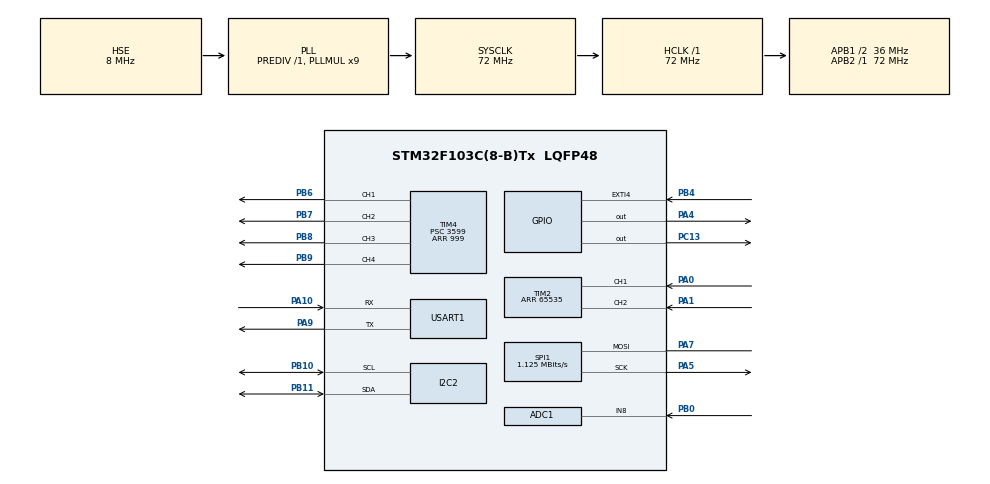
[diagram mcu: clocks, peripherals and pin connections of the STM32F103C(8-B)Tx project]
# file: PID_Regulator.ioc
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ADC1.Channel-1\#ChannelRegularConversion=ADC_CHANNEL_8
ADC1.ContinuousConvMode=DISABLE
ADC1.ExternalTrigConv=ADC_EXTERNALTRIGCONV_T3_TRGO
ADC1.NbrOfConversion=1
ADC1.NbrOfConversionFlag=1
ADC1.Rank-1\#ChannelRegularConversion=1
ADC1.SamplingTime-1\#ChannelRegularConversion=ADC_SAMPLETIME_71CYCLES_5
ADC1.master=1
Dma.ADC1.2.Direction=DMA_PERIPH_TO_MEMORY
Dma.ADC1.2.Instance=DMA1_Channel1
Dma.ADC1.2.MemDataAlignment=DMA_MDATAALIGN_HALFWORD
Dma.ADC1.2.MemInc=DMA_MINC_ENABLE
Dma.ADC1.2.Mode=DMA_CIRCULAR
Dma.ADC1.2.PeriphDataAlignment=DMA_PDATAALIGN_HALFWORD
Dma.ADC1.2.PeriphInc=DMA_PINC_DISABLE
Dma.ADC1.2.Priority=DMA_PRIORITY_HIGH
Dma.Request0=USART1_TX
Dma.Request1=USART1_RX
Dma.Request2=ADC1
Dma.USART1_RX.1.Direction=DMA_PERIPH_TO_MEMORY
Dma.USART1_RX.1.Instance=DMA1_Channel5
Dma.USART1_RX.1.MemDataAlignment=DMA_MDATAALIGN_BYTE
Dma.USART1_RX.1.MemInc=DMA_MINC_ENABLE
Dma.USART1_RX.1.Mode=DMA_CIRCULAR
Dma.USART1_RX.1.PeriphDataAlignment=DMA_PDATAALIGN_BYTE
Dma.USART1_RX.1.PeriphInc=DMA_PINC_DISABLE
Dma.USART1_RX.1.Priority=DMA_PRIORITY_LOW
Dma.USART1_TX.0.Direction=DMA_MEMORY_TO_PERIPH
Dma.USART1_TX.0.Instance=DMA1_Channel4
Dma.USART1_TX.0.MemDataAlignment=DMA_MDATAALIGN_BYTE
Dma.USART1_TX.0.MemInc=DMA_MINC_ENABLE
Dma.USART1_TX.0.Mode=DMA_NORMAL
Dma.USART1_TX.0.PeriphDataAlignment=DMA_PDATAALIGN_BYTE
Dma.USART1_TX.0.PeriphInc=DMA_PINC_DISABLE
Dma.USART1_TX.0.Priority=DMA_PRIORITY_LOW
Mcu.Family=STM32F1
Mcu.Name=STM32F103C(8-B)Tx
Mcu.Package=LQFP48
NVIC.DMA1_Channel1_IRQn=true\:0\:0\:false\:false\:true\:false\:true
NVIC.DMA1_Channel4_IRQn=true\:5\:0\:true\:false\:true\:false\:true
NVIC.DMA1_Channel5_IRQn=true\:4\:0\:true\:false\:true\:true\:true
NVIC.EXTI4_IRQn=true\:12\:0\:true\:false\:true\:true\:true
NVIC.I2C2_EV_IRQn=true\:9\:0\:true\:false\:true\:true\:true
NVIC.PriorityGroup=NVIC_PRIORITYGROUP_4
NVIC.TIM1_UP_IRQn=true\:13\:0\:true\:false\:true\:true\:true
NVIC.TIM2_IRQn=true\:14\:0\:true\:false\:true\:true\:true
NVIC.TIM4_IRQn=true\:11\:0\:true\:false\:true\:true\:true
NVIC.USART1_IRQn=true\:7\:0\:true\:false\:true\:true\:true
PA0-WKUP.Signal=S_TIM2_CH1_ETR
PA1.Signal=S_TIM2_CH2
PA10.GPIO_PuPd=GPIO_NOPULL
PA10.Mode=Asynchronous
PA10.Signal=USART1_RX
PA13.Mode=JTAG_4_pins
PA13.Signal=SYS_JTMS-SWDIO
PA14.Mode=JTAG_4_pins
PA14.Signal=SYS_JTCK-SWCLK
PA15.Mode=JTAG_4_pins
PA15.Signal=SYS_JTDI
PA4.Signal=GPIO_Output
PA5.Mode=Simplex_Bidirectional_Master
PA5.Signal=SPI1_SCK
PA7.Mode=Simplex_Bidirectional_Master
PA7.Signal=SPI1_MOSI
PA9.Mode=Asynchronous
PA9.Signal=USART1_TX
PB0.Signal=ADCx_IN8
PB10.Mode=I2C
PB10.Signal=I2C2_SCL
PB11.Mode=I2C
PB11.Signal=I2C2_SDA
PB3.Mode=JTAG_4_pins
PB3.Signal=SYS_JTDO-TRACESWO
PB4.GPIO_ModeDefaultEXTI=GPIO_MODE_IT_RISING_FALLING
PB4.Signal=GPXTI4
PB6.Signal=S_TIM4_CH1
PB7.Signal=S_TIM4_CH2
PB8.Signal=S_TIM4_CH3
PB9.Signal=S_TIM4_CH4
PC13-TAMPER-RTC.Signal=GPIO_Output
PD0-OSC_IN.Mode=HSE-External-Oscillator
PD0-OSC_IN.Signal=RCC_OSC_IN
PD1-OSC_OUT.Mode=HSE-External-Oscillator
PD1-OSC_OUT.Signal=RCC_OSC_OUT
ProjectManager.HeapSize=0x200
ProjectManager.StackSize=0x400
ProjectManager.TargetToolchain=SW4STM32
RCC.ADCPresc=RCC_ADCPCLK2_DIV8
RCC.AHBFreq_Value=72000000
RCC.APB1CLKDivider=RCC_HCLK_DIV2
RCC.APB1Freq_Value=36000000
RCC.APB1TimFreq_Value=72000000
RCC.APB2Freq_Value=72000000
RCC.APB2TimFreq_Value=72000000
RCC.HCLKFreq_Value=72000000
RCC.PLLMUL=RCC_PLL_MUL9
RCC.PLLSourceVirtual=RCC_PLLSOURCE_HSE
RCC.RTCClockSelection=RCC_RTCCLKSOURCE_HSE_DIV128
RCC.SYSCLKFreq_VALUE=72000000
RCC.SYSCLKSource=RCC_SYSCLKSOURCE_PLLCLK
RCC.USBFreq_Value=72000000
SH.ADCx_IN8.0=ADC1_IN8,IN8
SH.S_TIM2_CH1_ETR.0=TIM2_CH1,Encoder_Interface
SH.S_TIM2_CH2.0=TIM2_CH2,Encoder_Interface
SH.S_TIM4_CH1.0=TIM4_CH1,PWM Generation1 CH1
SH.S_TIM4_CH2.0=TIM4_CH2,PWM Generation2 CH2
SH.S_TIM4_CH3.0=TIM4_CH3,PWM Generation3 CH3
SH.S_TIM4_CH4.0=TIM4_CH4,PWM Generation4 CH4
SPI1.BaudRatePrescaler=SPI_BAUDRATEPRESCALER_64
SPI1.CalculateBaudRate=1.125 MBits/s
SPI1.Direction=SPI_DIRECTION_1LINE
SPI1.FirstBit=SPI_FIRSTBIT_LSB
SPI1.Mode=SPI_MODE_MASTER
SPI1.VirtualType=VM_MASTER
TIM1.Period=4999
TIM1.Prescaler=7199
TIM2.CounterMode=TIM_COUNTERMODE_CENTERALIGNED1
TIM2.IC1Filter=10
TIM2.IC2Filter=10
TIM2.Period=65535
TIM3.AutoReloadPreload=TIM_AUTORELOAD_PRELOAD_ENABLE
TIM3.Period=19
TIM3.Prescaler=7199
TIM3.TIM_MasterOutputTrigger=TIM_TRGO_UPDATE
TIM4.Channel-PWM\ Generation1\ CH1=TIM_CHANNEL_1
TIM4.Channel-PWM\ Generation2\ CH2=TIM_CHANNEL_2
TIM4.Channel-PWM\ Generation3\ CH3=TIM_CHANNEL_3
TIM4.Channel-PWM\ Generation4\ CH4=TIM_CHANNEL_4
TIM4.Period=999
TIM4.Prescaler=3599
USART1.VirtualMode=VM_ASYNC
VP_TIM1_VS_ClockSourceINT.Mode=Internal
VP_TIM3_VS_ClockSourceINT.Mode=Internal
VP_TIM4_VS_ClockSourceINT.Mode=Internal
board=custom

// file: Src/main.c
/* USER CODE BEGIN Header */
/**
  ******************************************************************************
  * @file           : main.c
  * @brief          : Main program body
  ******************************************************************************
  * @attention
  *
  * <h2><center>&copy; Copyright (c) 2020 STMicroelectronics.
  * All rights reserved.</center></h2>
  *
  * This software component is licensed by ST under BSD 3-Clause license,
  * the "License"; You may not use this file except in compliance with the
  * License. You may obtain a copy of the License at:
  *                        opensource.org/licenses/BSD-3-Clause
  *
  ******************************************************************************
  */
/* USER CODE END Header */

#include "main.h"

/* USER CODE BEGIN Includes */
#include <string.h>
#include "stm32f1xx_hal.h"
#include <../ds1302/ds1302.h>
#include <../menu/menu.h>
#include "../pid/pid.h"

#include "../lcd/bigFont_lcdI2c.h"
#include "../lcd/lcd_Hd44780I2C.h"

#include "../sdbg/sdbg.h"
/* USER CODE END Includes */

/* USER CODE BEGIN PD */

#define LCD_ROWS		(4U)
#define LCD_COLS		(20U)
#define LCD_I2C_ADDRESS	(0x4E)

#define SAMPLING_TIME (2U)

#define KP_ENTIRE 	(7U)
#define KP_DECIMAL	(0U)
#define KI_ENTIRE 	(0U)
#define KI_DECIMAL 	(100U)
#define KD_ENTIRE 	(0U)
#define KD_DECIMAL 	(10U)

#define AD_RESOLLUTION 		(5000000/4096)
#define DEFAULT_DUTY_VAL 	(500u)
#define SET_POINT_INIT_VAL 	(4217u)
#define SET_POINT_DECIMAL 	(0u)

#define HOUR_FORMAT	(0) // 0 = 0-24h; 1= 0-12h
#define HOUR 		(13U)
#define MINUTES 	(18U)
#define SECONDS 	(00U)
#define AM_PM		(1U)
#define WEEKDAY 	(1U)
#define MONTHDAY 	(14U)
#define MONTH 		(8U)
#define YEAR 		(2022U)

#define HOUR_ALARM_FORMAT	(0U) // 0 = 0-24h; 1= 0-12h
#define HOUR_ALARM			(15U)
#define MINUTES_ALARM		(10U)
#define SECONDS_ALARM		(10U)
#define AM_PM_ALARM			(1U)
#define ALARM_STATUS		(0U)// OFF

#define ADC_BUFFER_LEN	(1U)

/* USER CODE END PD */

/* USER CODE BEGIN PM */

/* Exported functions ------------------------------------------------------- */
/* USER CODE END PM */

ADC_HandleTypeDef hadc1;
DMA_HandleTypeDef hdma_adc1;

I2C_HandleTypeDef hi2c2;

SPI_HandleTypeDef hspi1;

TIM_HandleTypeDef htim1;
TIM_HandleTypeDef htim2;
TIM_HandleTypeDef htim3;
TIM_HandleTypeDef htim4;

UART_HandleTypeDef huart1;
DMA_HandleTypeDef hdma_usart1_tx;
DMA_HandleTypeDef hdma_usart1_rx;

/* USER CODE BEGIN PV */

/* Lcd object */
static LCD_t Lcd;
/* PID object */
static pidc_t Pid;
/* DS1302 object */
static ds1302_T rtc;
/* Menu object */
static menu_T menu;

static uint8_t flag_timer1 = 0u;

/*Pid configuration */
static const pid_cfg_t pidcfg = {
		KP_ENTIRE,
		KP_DECIMAL,
		KI_ENTIRE,
		KI_DECIMAL,
		KD_ENTIRE,
		KD_DECIMAL,
		AD_RESOLLUTION,
		SAMPLING_TIME,
		DEFAULT_DUTY_VAL,
		SET_POINT_INIT_VAL
};

/* Pid configuration for menu */
static const menu_pidCfg_t menuPidCfg = {
		KP_ENTIRE,
		KP_DECIMAL,
		KI_ENTIRE,
		KI_DECIMAL,
		KD_ENTIRE,
		KD_DECIMAL,
		SET_POINT_INIT_VAL,
		SET_POINT_DECIMAL
};

/* Clock configuration for menu */
static const menu_dateTimeCfg_t menu_dateTimeCfg ={
		HOUR_FORMAT, HOUR, MINUTES, SECONDS, AM_PM, WEEKDAY, MONTHDAY, MONTH, YEAR
};

/* Clock configuration for menu */
static const menu_alarmCfg_t menu_alarmCfg ={
		HOUR_ALARM_FORMAT, HOUR_ALARM, MINUTES_ALARM, SECONDS_ALARM, AM_PM_ALARM, ALARM_STATUS
};

/*Lcd configuration */
static const LCD_cfg_t Lcd_Hd44780I2cCfg =
{
	&hi2c2,   /* Depending on your active I2C configuration */
	LCD_COLS, /* Lcd columns */
	LCD_ROWS, /* Lcd rows */
	LCD_I2C_ADDRESS, /* Lcd address. Depending on your PCF8574T expander board it could change. */
	LCD_5x8DOTS /* Pending to remove, here you can set 0*/
};

static ds1302_cfg_T ds1302_config = {
	&hspi1,
	{GPIOA, GPIO_PIN_4}
};

static const menu_item_T menu1_cfg_options[6]={
        {0, menu_op1, menu_op1_sel, MENU_PidSelected},
		{1, menu_op2, menu_op2_sel, MENU_HourSelected},
		{2, menu_op3, menu_op3_sel, MENU_enterPidOptions},
		{3, menu_op4, menu_op4_sel, MENU_enterClockOptions},//
		{4, menu_op5, menu_op5_sel, MENU_ChangePwmSelected},
		{5, menu_Exit, menu_Exit_sel, MENU_ExitSelected},
};

/* MENU screen config */
static const menu_cfg_T menu1_cfg = {
		MENU_MAIN,
		MENU_SCREEN_NO_FREEZE,
		4,//max lines
		0,//line start
		5,//max options
		0,//min menu start option
		&menu1_cfg_options[0]
};

static const menu_item_T menu_defaultHourOptions[4]={
		{0, menu_empty, menu_empty, MENU_defaultHourToMainSel},
		{1, menu_empty, menu_empty, MENU_defaultHourToMainSel},
		{2, menu_empty, menu_empty, MENU_defaultHourToMainSel},
		{3, menu_empty, menu_empty, MENU_defaultHourToMainSel},
};

/* HOUR screen config */
static const menu_cfg_T menu_defaultHour = {
		MENU_DEFAULT_HOUR,
		MENU_SCREEN_NO_FREEZE,
		4,//max lines
		0,//line start
		0,//max options
		0,//min menu start option
		&menu_defaultHourOptions[0]
};

static const menu_item_T menu_defaultPidOptions[4]={
		{0, menu_defLine1Pid, menu_defLine1Pid, MENU_defaultPidToMainSel},
		{1, menu_defLine2Pid, menu_defLine2Pid, MENU_defaultPidToMainSel},
		{2, menu_defLine3Pid, menu_defLine3Pid, MENU_defaultPidToMainSel},
		{3, menu_defLine4Pid, menu_defLine4Pid, MENU_defaultPidToMainSel},
};

/* Pid screen config for PID*/
static const menu_cfg_T menu_defaultPid = {
		MENU_DEFAULT_PID,
		MENU_SCREEN_NO_FREEZE,
		4,
		0,
		0,
		0,
		&menu_defaultPidOptions[0]
};

static const menu_item_T menu_ChangePidSettingsOptions[11]={
		{0, submenu1_op1, submenu1_op1, NULL},
		{1, menu_empty, submenu1_op2, MENU_ChangeKpEntireSel},
		{2, menu_empty, submenu1_op3, MENU_ChangeKpDecimalSel},
		{3, menu_empty, submenu1_op4, MENU_ChangeKiEntireSel},
		{4, menu_empty, submenu1_op5, MENU_ChangeKiDecimalSel},
		{5, menu_empty, submenu1_op6, MENU_ChangeKdEntireSel},
		{6, menu_empty, submenu1_op7, MENU_ChangeKdDecimalSel},
		{7, menu_empty, submenu1_op8, MENU_ChangeSetPointEntireSel},
		{8, menu_empty, submenu1_op9, MENU_ChangeSetPointDecimalSel},
		{9, menu_empty, submenu1_op10, MENU_ExitAndSavePid},
		{10, menu_empty, submenu1_op11, MENU_exitAndNoSavePid},
};

/* Screen to Change PID settings*/
static const menu_cfg_T menu_ChangePidSettings = {
		MENU_PID_SETTINGS,
		MENU_SCREEN_NO_FREEZE,
		1, // Used Lines to print the menu
		1, // Print the entire menu rotating on this line
		10,// number of menu items
		1, //min menu start option
		&menu_ChangePidSettingsOptions[0]
};

static const menu_item_T menu_ChangeDateTimeOptions[12]={
		{0, submenu3_op1, submenu3_op1, NULL},
		{1, menu_empty, submenu3_op2, MENU_ChangeHourFormatSel},
		{2, menu_empty, submenu3_op6, MENU_ChangeAmPmSel},
		{3, menu_empty, submenu3_op3, MENU_ChangeHourSel},
		{4, menu_empty, submenu3_op4, MENU_ChangeMinSel},
		{5, menu_empty, submenu3_op5, MENU_ChangeSecSel},
		{6, menu_empty, submenu3_op7, MENU_ChangeWeekDaySel},
		{7, menu_empty, submenu3_op8, MENU_ChangeMonthDaySel},
		{8, menu_empty, submenu3_op9, MENU_ChangeMonthSel},
		{9, menu_empty, submenu3_op10, MENU_ChangeYearSel},
		{10, menu_empty, submenu3_op11, MENU_exitAndSaveDateTime},
		{11, menu_empty, submenu3_op12, MENU_exitAndNoSaveDateTime},
};

/* Screen to Change Hours*/
static const menu_cfg_T menu_ChangeDateTime = {
		MENU_CLOCK_SETTINGS,
		MENU_SCREEN_NO_FREEZE,
		1, // Used Lines to print the menu
		1, // Print the entire menu rotating on this line
		11,// number of menu items
		1, //min menu start option
		&menu_ChangeDateTimeOptions[0]
};

static const menu_item_T menu_changeHourFormatOptions[1]={
		{0, menu_empty, menu_empty, MENU_exitChangeClockSelected},
};

/* Screen to Change Hour format */
static const menu_cfg_T menu_changeHourFormat = {
		MENU_CHANGE_HOUR_FORMAT,
		MENU_SCREEN_FREEZE,
		1, // Used Lines to print the menu
		1, // Print the entire menu rotating on this line
		1,// number of menu items
		0, //min menu start option
		&menu_changeHourFormatOptions[0]
};

static const menu_item_T menu_changeHourAmPmOptions[1]={
		{0, menu_empty, menu_empty, MENU_exitChangeClockSelected},
};

/* Screen to Change Hour mode */
static const  menu_cfg_T menu_changeHourAmPm = {
		MENU_CHANGE_HOUR_AM_PM,
		MENU_SCREEN_FREEZE,
		1, // Used Lines to print the menu
		1, // Print the entire menu rotating on this line
		1,// number of menu items
		0, //min menu start option
		&menu_changeHourAmPmOptions[0]
};

static const menu_item_T menu_changeHoursOptions[1]={
		{0, menu_empty, menu_empty, MENU_exitChangeClockSelected},
};

/* Screen to Change Hours */
static const menu_cfg_T menu_changeHours = {
		MENU_CHANGE_HOUR,
		MENU_SCREEN_FREEZE,
		1, // Used Lines to print the menu
		1, // Print the entire menu rotating on this line
		23,// number of menu items
		0, //min menu start option
		&menu_changeHoursOptions[0]
};

static const menu_item_T menu_changeMinutesOptions[1]={
		{0, menu_empty, menu_empty, MENU_exitChangeClockSelected},
};

/* Screen to Change Minutes */
static const menu_cfg_T menu_changeMinutes = {
		MENU_CHANGE_MINUTES,
		MENU_SCREEN_FREEZE,
		1, // Used Lines to print the menu
		1, // Print the entire menu rotating on this line
		59,// number of menu items
		0, //min menu start option
		&menu_changeMinutesOptions[0]
};

static const menu_item_T menu_changeSecondsOptions[1]={
		{0, menu_empty, menu_empty, MENU_exitChangeClockSelected},
};

/* Screen to Change Seconds */
static const menu_cfg_T menu_changeSeconds = {
		MENU_CHANGE_SECONDS,
		MENU_SCREEN_FREEZE,
		1, // Used Lines to print the menu
		1, // Print the entire menu rotating on this line
		59,// number of menu items
		0, //min menu start option
		&menu_changeSecondsOptions[0]
};

static const menu_item_T menu_changeWeekDayOptions[1]={
		{0, menu_empty, menu_empty, MENU_exitChangeClockSelected},
};

/* Screen to Change the day of the week */
static const menu_cfg_T menu_changeWeekDay = {
		MENU_CHANGE_WEEKDAY,
		MENU_SCREEN_FREEZE,
		1, // Used Lines to print the menu
		1, // Print the entire menu rotating on this line
		7, // number of menu items
		1, //min menu start option
		&menu_changeWeekDayOptions[0]
};

static const menu_item_T menu_changeMonthDayOptions[1]= {
		{0, menu_empty, menu_empty, MENU_exitChangeClockSelected},
};

/* Screen to Change the day of the current month*/
static const menu_cfg_T menu_changeMonthDay = {
		MENU_CHANGE_MONTHDAY,
		MENU_SCREEN_FREEZE,
		1, // Used Lines to print the menu
		1, // Print the entire menu rotating on this line
		31,// number of menu items
		1, //min menu start option
		&menu_changeMonthDayOptions[0]
};

static const menu_item_T menu_changeMonthOptions[1]={
		{0, menu_empty, menu_empty, MENU_exitChangeClockSelected},
};

/* Screen to Change the day of the current month*/
static const menu_cfg_T menu_changeMonth = {
		MENU_CHANGE_MONTH,
		MENU_SCREEN_FREEZE,
		1, // Used Lines to print the menu
		1, // Print the entire menu rotating on this line
		12,// number of menu items
		1, //min menu start option
		&menu_changeMonthOptions[0]
};

static const menu_item_T menu_changeYearOptions[1]={
	{0, menu_empty, menu_empty, MENU_exitChangeClockSelected},
};

/* Screen to Change the day of the current month*/
static const menu_cfg_T menu_changeYear = {
		MENU_CHANGE_YEAR,
		MENU_SCREEN_FREEZE,
		1, // Used Lines to print the menu
		1, // Print the entire menu rotating on this line
		999,// number of menu items
		0, //min menu start option
		&menu_changeYearOptions[0]
};

static const menu_item_T menu_changeKpEntireOptions[1]={
		{0, menu_empty, menu_empty, MENU_exitChangePidSelected},
};

/* Screen to Change the Entire part of the KP_ENTIRE parameter*/
static const menu_cfg_T menu_changeKpEntire = {
		MENU_CHANGE_KP_ENTIRE,
		MENU_SCREEN_FREEZE,
		1, // Used Lines to print the menu
		1, // Print the entire menu rotating on this line
		9999,// number of menu items
		0, //min menu start option
		&menu_changeKpEntireOptions[0]
};

static const menu_item_T menu_changeKpDecimalOptions[1]={
		{0, menu_empty, menu_empty, MENU_exitChangePidSelected},
};

/* Screen to Change the decimal part of the KP_ENTIRE parameter*/
static const menu_cfg_T menu_changeKpDecimal = {
		MENU_CHANGE_KP_DECIMAL,
		MENU_SCREEN_FREEZE,
		1, // Used Lines to print the menu
		1, // Print the entire menu rotating on this line
		999,// number of menu items
		0, //min menu start option
		&menu_changeKpDecimalOptions[0]
};

static const menu_item_T menu_changeKiEntireOptions[1]={
		{0, menu_empty, menu_empty, MENU_exitChangePidSelected},
};

/* Screen to Change the Entire part of the KP_ENTIRE parameter*/
static const menu_cfg_T menu_changeKiEntire = {
		MENU_CHANGE_KI_ENTIRE,
		MENU_SCREEN_FREEZE,
		1, // Used Lines to print the menu
		1, // Print the entire menu rotating on this line
		9999,// number of menu items
		0, //min menu start option
		&menu_changeKiEntireOptions[0]
};

static const menu_item_T menu_changeKiDecimalOptions[1]={
		{0, menu_empty, menu_empty, MENU_exitChangePidSelected},
};

/* Screen to Change the decimal part of the KP_ENTIRE parameter*/
static menu_cfg_T menu_changeKiDecimal = {
		MENU_CHANGE_KI_DECIMAL,
		MENU_SCREEN_FREEZE,
		1, // Used Lines to print the menu
		1, // Print the entire menu rotating on this line
		999,// number of menu items
		0, //min menu start option
		&menu_changeKiDecimalOptions[0]
};

static const menu_item_T menu_changeKdEntireOptions[1]=		{
		{0, menu_empty, menu_empty, MENU_exitChangePidSelected},
};

/* Screen to Change the Entire part of the KP_ENTIRE parameter*/
static const menu_cfg_T menu_changeKdEntire = {
		MENU_CHANGE_KD_ENTIRE,
		MENU_SCREEN_FREEZE,
		1, // Used Lines to print the menu
		1, // Print the entire menu rotating on this line
		9999,// number of menu items
		0, //min menu start option
		&menu_changeKdEntireOptions[0]
};

static const menu_item_T menu_changeKdDecimalOptions[1]=		{
		{0, menu_empty, menu_empty, MENU_exitChangePidSelected},
};

/* Screen to Change the decimal part of the KP_ENTIRE parameter*/
static const menu_cfg_T menu_changeKdDecimal = {
		MENU_CHANGE_KD_DECIMAL,
		MENU_SCREEN_FREEZE,
		1, // Used Lines to print the menu
		1, // Print the entire menu rotating on this line
		999,// number of menu items
		0, //min menu start option
		&menu_changeKdDecimalOptions[0]
};

static const menu_item_T menu_changeSetPointEntireOptions[1]={
		{0, menu_empty, menu_empty, MENU_exitChangePidSelected},
};
/* Screen to Change the Entire part of the KP_ENTIRE parameter*/
static const menu_cfg_T menu_changeSetPointEntire = {
		MENU_CHANGE_SET_POINT_ENTIRE,
		MENU_SCREEN_FREEZE,
		1, // Used Lines to print the menu
		1, // Print the entire menu rotating on this line
		9999,// number of menu items
		0, //min menu start option
		&menu_changeSetPointEntireOptions[0]
};

static const menu_item_T menu_changeSetPointDecimalOptions[1]={
		{0, menu_empty, menu_empty, MENU_exitChangePidSelected},
};

/* Screen to Change the decimal part of the KP_ENTIRE parameter*/
static const menu_cfg_T menu_changeSetPointDecimal = {
		MENU_CHANGE_SET_POINT_DECIMAL,
		MENU_SCREEN_FREEZE,
		1, // Used Lines to print the menu
		1, // Print the entire menu rotating on this line
		999,// number of menu items
		0, //min menu start option
		&menu_changeSetPointDecimalOptions[0]
};

static const menu_item_T menu_PidOptionsOptions[7] ={
		{0, submenu4_title, submenu4_title, NULL},
		{1, submenu4_op1, submenu4_op1_sel , MENU_enterChangePidSelected},
		{2, submenu4_op2, submenu4_op2_sel, MENU_showPidValues},
		{3, menu_Exit, menu_Exit_sel, MENU_pidOptionsExitToMain},
};

/* Screen to show all PID options */
static menu_cfg_T menu_PidOptions = {
		MENU_PID_OPTIONS,
		MENU_SCREEN_NO_FREEZE,
		3, // Used Lines to print the menu
		1, // start printing the menu on this line
		3,// number of menu items
		1, //min menu start option
		&menu_PidOptionsOptions[0]
};

static const menu_item_T menu_clockOptionsOptions[7]=		{
		{0, submenu5_title, submenu5_title, NULL},
		{1, submenu5_op1, submenu5_op1_sel , MENU_enterChangeClockSelected},
		{2, submenu5_op2, submenu5_op2_sel, MENU_enterChangeAlarmSelected},
		{3, menu_Exit, menu_Exit_sel, MENU_pidOptionsExitToMain},
};

/* Screen to show all PID options */
static menu_cfg_T menu_clockOptions = {
		MENU_CLOCK_OPTIONS,
		MENU_SCREEN_NO_FREEZE,
		3, // Used Lines to print the menu
		1, // Print the entire menu rotating on this line
		3,// number of menu items
		1, //min menu start option
		&menu_clockOptionsOptions[0]
};

static const menu_item_T menu_PidValuesOptions[4]={
		{0, submenu3_Kp, submenu3_Kp, MENU_exitAndNoSavePid},
		{1, submenu3_Ki, submenu3_Ki, MENU_exitAndNoSavePid},
		{2, submenu3_Kd, submenu3_Kd, MENU_exitAndNoSavePid},
		{3, submenu3_Sp, submenu3_Sp, MENU_exitAndNoSavePid},
};

/* Screen to show all PID options */
static const menu_cfg_T menu_PidValues = {
		MENU_PID_VALUES,
		MENU_SCREEN_NO_FREEZE,
		4, // Used Lines to print the menu
		0, // Print the entire menu rotating on this line
		3, // number of menu items
		0, //min menu start option
		&menu_PidValuesOptions[0]
};

static const menu_item_T menu_ChangeAlarmOptions[9]={
		{0, submenu6_op1, submenu6_op1, NULL},
		{1, menu_empty, submenu6_op2, MENU_ChangeAlarmHourFormatSel},
		{2, menu_empty, submenu6_op3, MENU_ChangeAlarmAmPmSel},
		{3, menu_empty, submenu6_op4, MENU_ChangeAlarmHourSel},
		{4, menu_empty, submenu6_op5, MENU_ChangeAlarmMinSel},
		{5, menu_empty, submenu6_op6, MENU_ChangeAlarmSecSel},
		{6, menu_empty, submenu6_op7, MENU_ChangeAlarmStatusSel},
		{7, menu_empty, submenu6_op8, MENU_exitAndSaveAlarm},
		{8, menu_empty, submenu6_op9, MENU_exitAndNoSaveAlarm}
};

/* Screen to Change Hours*/
static const menu_cfg_T menu_ChangeAlarm = {
		MENU_ALARM_SETTINGS,
		MENU_SCREEN_NO_FREEZE,
		1, // Used Lines to print the menu
		1, // Print the entire menu rotating on this line
		8,// number of menu items
		1, //min menu start option
		&menu_ChangeAlarmOptions[0]
};

static const menu_item_T menu_changeAlarmHourAmPmOptions[1]={
		{0, menu_empty, menu_empty, MENU_exitChangeAlarmSelected},
};

/* Screen to Change Alarm Hour mode */
static const  menu_cfg_T menu_changeAlarmHourAmPm = {
		MENU_CHANGE_ALARM_HOUR_AM_PM,
		MENU_SCREEN_FREEZE,
		1, // Used Lines to print the menu
		1, // Print the entire menu rotating on this line
		1,// number of menu items
		0, //min menu start option
		&menu_changeAlarmHourAmPmOptions[0]
};

static const menu_item_T menu_changeAlarmHourFormatOptions[1]={
		{0, menu_empty, menu_empty, MENU_exitChangeAlarmSelected},
};

/* Screen to Change Hour format */
static const menu_cfg_T menu_changeAlarmHourFormat = {
		MENU_CHANGE_ALARM_HOUR_FORMAT,
		MENU_SCREEN_FREEZE,
		1, // Used Lines to print the menu
		1, // Print the entire menu rotating on this line
		1,// number of menu items
		0, //min menu start option
		&menu_changeAlarmHourFormatOptions[0]
};

static const menu_item_T menu_changeAlarmHoursOptions[1]={
		{0, menu_empty, menu_empty, MENU_exitChangeAlarmSelected},
};

/* Screen to Change Hours */
static const menu_cfg_T menu_changeAlarmHours = {
		MENU_CHANGE_ALARM_HOUR,
		MENU_SCREEN_FREEZE,
		1, // Used Lines to print the menu
		1, // Print the entire menu rotating on this line
		23,// number of menu items
		0, //min menu start option
		&menu_changeAlarmHoursOptions[0]
};

static const menu_item_T menu_changeAlarmMinutesOptions[1]={
		{0, menu_empty, menu_empty, MENU_exitChangeAlarmSelected},
};

/* Screen to Change Hours */
static const menu_cfg_T menu_changeAlarmMinutes = {
		MENU_CHANGE_ALARM_MINUTES,
		MENU_SCREEN_FREEZE,
		1, // Used Lines to print the menu
		1, // Print the entire menu rotating on this line
		59,// number of menu items
		0, //min menu start option
		&menu_changeAlarmMinutesOptions[0]
};

static const menu_item_T menu_changeAlarmSecondsOptions[1]={
		{0, menu_empty, menu_empty, MENU_exitChangeAlarmSelected},
};

/* Screen to Change Hours */
static const menu_cfg_T menu_changeAlarmSeconds = {
		MENU_CHANGE_ALARM_SECONDS,
		MENU_SCREEN_FREEZE,
		1, // Used Lines to print the menu
		1, // Print the entire menu rotating on this line
		59,// number of menu items
		0, //min menu start option
		&menu_changeAlarmSecondsOptions[0]
};

static const menu_item_T menu_changeAlarmStatusOptions[1]={
		{0, menu_empty, menu_empty, MENU_exitChangeAlarmSelected},
};

/* Screen to Change Hours */
static const menu_cfg_T menu_changeAlarmStatus = {
		MENU_CHANGE_ALARM_STATUS,
		MENU_SCREEN_FREEZE,
		1, // Used Lines to print the menu
		1, // Print the entire menu rotating on this line
		1,// number of menu items
		0, //min menu start option
		&menu_changeAlarmStatusOptions[0]
};

static const menu_cfg_T *menu_configs[33]={
		&menu_defaultPid,			//0
		&menu_defaultPid,			//1
		&menu_defaultHour,			//2
		&menu1_cfg,					//3
		&menu_PidOptions,			//4
		&menu_ChangeDateTime,		//5
		&menu_changeHourFormat,		//6
		&menu_changeHourAmPm,		//7
		&menu_changeHours,			//8
		&menu_changeMinutes,		//9
		&menu_changeSeconds,		//10
		&menu_changeWeekDay,		//11
		&menu_changeMonthDay,		//12
		&menu_changeMonth,			//13
		&menu_changeYear,			//14
		&menu_ChangePidSettings,	//15
		&menu_changeKpEntire,		//16
		&menu_changeKpDecimal,		//17
		&menu_changeKiEntire,		//18
		&menu_changeKiDecimal,		//19
		&menu_changeKdEntire,		//20
		&menu_changeKdDecimal,		//21
		&menu_changeSetPointEntire,	//22
		&menu_changeSetPointDecimal,//23
		&menu_PidValues,			//24
		&menu_clockOptions,			//25
		&menu_ChangeAlarm,			//26
		&menu_changeAlarmHourFormat,//27
		&menu_changeAlarmHourAmPm,  //28
		&menu_changeAlarmHours,		//29
		&menu_changeAlarmMinutes,  //30
		&menu_changeAlarmSeconds,//31
		&menu_changeAlarmStatus,//32
};

static uint32_t i2c_TxInterrupts = 0;
static uint32_t i2c_RxInterrupts = 0;
static uint32_t Uart_TxInterrupts = 0;
uint8_t Rx_indx,Transfer_cplt;
char Rx_data[2],Rx_Buffer[100];
static uint16_t adc_buffer[ADC_BUFFER_LEN];
/* USER CODE END PV */

void SystemClock_Config(void);
static void MX_GPIO_Init(void);
static void MX_TIM2_Init(void);
static void MX_DMA_Init(void);
static void MX_USART1_UART_Init(void);
static void MX_TIM4_Init(void);
static void MX_SPI1_Init(void);
static void MX_ADC1_Init(void);
static void MX_TIM1_Init(void);
static void MX_I2C2_Init(void);
static void MX_TIM3_Init(void);

/* USER CODE BEGIN 0 */

static void print_normal_Menu(void){
	LCD_setCursor(&Lcd, 0, 0);
	LCD_print(&Lcd, "%s", menu.data.lines[0]);
	LCD_setCursor(&Lcd, 0, 1);
	LCD_print(&Lcd, "%s", menu.data.lines[1]);
	LCD_setCursor(&Lcd, 0, 2);
	LCD_print(&Lcd, "%s", menu.data.lines[2]);
	LCD_setCursor(&Lcd, 0, 3);
	LCD_print(&Lcd, "%s", menu.data.lines[3]);
}

static void print_datetime_big_format(void){
	BIGFONT_printChar(&Lcd,':', 7, 0);
	BIGFONT_printNumber(&Lcd, menu.data.hour10, 0, 0);
	BIGFONT_printNumber(&Lcd, menu.data.hour, 4, 0);
	BIGFONT_printNumber(&Lcd, menu.data.minutes10, 10, 0);
	BIGFONT_printNumber(&Lcd, menu.data.minutes, 14, 0);
	LCD_setCursor(&Lcd, 18, 0);
	LCD_print(&Lcd,"%d", menu.data.seconds10);
	LCD_setCursor(&Lcd, 19, 0);
	LCD_print(&Lcd,"%d", menu.data.seconds);
	LCD_setCursor(&Lcd, 0, 3);
	LCD_print(&Lcd, "%s", menu.data.lines[3]);
}

void HAL_TIM_PeriodElapsedCallback(TIM_HandleTypeDef *htim)
{
	menu_status_t menuStatus = MENU_DEFAULT_CFG;

	//check if the interrupt comes from TIM1
	if(htim->Instance == TIM1){
		menuStatus = MENU_GetStatus(&menu);
		HAL_GPIO_TogglePin(GPIOC, GPIO_PIN_13);
		if ((menuStatus == MENU_DEFAULT_PID)){
			MENU_Task(&menu);
			print_normal_Menu();
		}else if((menuStatus == MENU_DEFAULT_HOUR)){
			//LCD_clear(&Lcd_2);
			MENU_Task(&menu);
			print_datetime_big_format();
		}else{
			/* Nothing to do */
		}
		flag_timer1 = 1u;
	}
}

void HAL_ADC_ConvCpltCallback(ADC_HandleTypeDef* hadc){
	if(hadc->Instance == ADC1){
		PID_control(&Pid, adc_buffer[0]);
		MENU_SetAdcValue(&menu, PID_GetAdcValule(&Pid));
		MENU_SetDutyCycle(&menu, PID_GetDutyValule(&Pid));
	}
}

void HAL_TIM_IC_CaptureCallback(TIM_HandleTypeDef *htim)
{
	menu_status_t menuStatus = MENU_DEFAULT_CFG;

	if (htim->Instance == TIM2) //check if the interrupt comes from TIM2
	{
		if(HAL_TIM_Encoder_GetState(&htim2) == HAL_TIM_STATE_READY)
		{
			menuStatus = MENU_GetStatus(&menu);
			SDBG_print(&huart1,"\r\nEncoder: %d", TIM2->CNT);
			MENU_encoderOption (&menu, (int32_t)TIM2->CNT);

			if (( menuStatus!= MENU_DEFAULT_HOUR) && (menuStatus != MENU_DEFAULT_PID)){
				MENU_Task(&menu);
				print_normal_Menu();
			}
		}
	}
}

void HAL_I2C_MasterTxCpltCallback(I2C_HandleTypeDef *hi2c)
{
	if(hi2c->Instance == I2C1)
	{
		i2c_TxInterrupts++;
	}
}

void HAL_I2C_MasterRxCpltCallback(I2C_HandleTypeDef *hi2c)
{
	if(hi2c->Instance == I2C1)
	{
		i2c_RxInterrupts++;
	}
}

void HAL_UART_TxCpltCallback(UART_HandleTypeDef *huart)
{
	if(huart->Instance == USART1)
	{
		Uart_TxInterrupts++;
	}
}

void HAL_UART_RxCpltCallback(UART_HandleTypeDef *huart)
{
	uint8_t i;
	if(huart->Instance == USART1)//Current UART
	{
		if(Rx_indx == 0)
		{
			for(i=0; i<100; i++)
			{
				Rx_Buffer[i]=0; //Clear rx_Buffer prior to use
			}
			//reset the user led if previously set
			HAL_GPIO_WritePin(GPIOC, GPIO_PIN_13, GPIO_PIN_RESET);
		}
		if(Rx_data[0]!=13)
		{
			Rx_Buffer[Rx_indx++] = Rx_data[0]; //add data to rxbuffer
		}
		else // if received data =13 (carriage return)
		{
			Rx_indx =0;
			Transfer_cplt =1; // transfer complete, data is ready
			HAL_UART_Transmit_DMA(&huart1,(uint8_t*)Rx_Buffer,(uint16_t)strlen(Rx_Buffer));
			HAL_UART_Transmit_DMA(&huart1,(uint8_t*)"\n\r",2u);
			if(!strcmp(Rx_Buffer,"On"))// LED trigger phase
			{
				HAL_GPIO_WritePin(GPIOC, GPIO_PIN_13, GPIO_PIN_SET);
			}
		}
		HAL_UART_Receive_DMA(&huart1,(uint8_t*)Rx_data,1u);// activate UART
		HAL_UART_Transmit_DMA(&huart1,(uint8_t*)Rx_data,(uint16_t)strlen(Rx_data));
	}
}

void HAL_GPIO_EXTI_Callback(uint16_t GPIO_Pin)
{
	if (GPIO_Pin == GPIO_PIN_4){
		if((HAL_GPIO_ReadPin(GPIOB, GPIO_PIN_4) == GPIO_PIN_RESET)){
			/* Falling edge */
			MENU_keyPressed(&menu);
			MENU_Task(&menu);
			print_normal_Menu();
		}else{
			/* Rising edge */
		}
	}
}

/* USER CODE END 0 */

int main(void)
{

  /* MCU Configuration--------------------------------------------------------*/

  /* Reset of all peripherals, Initializes the Flash interface and the Systick. */
  HAL_Init();

  /* Configure the system clock */
  SystemClock_Config();

  /* Initialize all configured peripherals */
  MX_GPIO_Init();
  MX_TIM2_Init();
  MX_DMA_Init();
  MX_USART1_UART_Init();
  MX_TIM4_Init();
  MX_SPI1_Init();
  MX_ADC1_Init();
  MX_TIM1_Init();
  MX_I2C2_Init();
  MX_TIM3_Init();
  /* USER CODE BEGIN 2 */
	(void)HAL_UART_Receive_DMA(&huart1, (uint8_t*)Rx_data, 1u);
	LCD_init(&Lcd, &Lcd_Hd44780I2cCfg); /* Initialize the LCD to print "normal characters"*/
	BIGFONT_init(&Lcd); /*Initialize Big font characters */
	LCD_setBacklight(&Lcd, 1u); /* Turn on the Backlight */
	DS1302_Init(&rtc, &ds1302_config);
	DS1302_setTime(&rtc, HOUR_FORMAT, HOUR, MINUTES, SECONDS, AM_PM, WEEKDAY, MONTHDAY, MONTH, YEAR);
	SDBG_print(&huart1,"\r\nHello World!");
	MENU_Init(&menu, &menu_configs, &menu_dateTimeCfg, &menu_alarmCfg, &menuPidCfg);
	PID_init(&Pid, &pidcfg);

	if(HAL_OK != HAL_ADCEx_Calibration_Start(&hadc1)){
		Error_Handler();
	}

	if(HAL_OK != HAL_ADC_Start_DMA(&hadc1, (uint32_t*)&adc_buffer, ADC_BUFFER_LEN)){
		Error_Handler();
	}

	if(HAL_OK != HAL_TIM_Base_Start_IT(&htim1)){
		Error_Handler();
	}

	if(HAL_OK != HAL_TIM_Base_Start_IT(&htim3)){
		Error_Handler();
	}
  /* USER CODE END 2 */

  /* Infinite loop */
  /* USER CODE BEGIN WHILE */
	while (1)
	{
		if(flag_timer1){
			DS1302_updateDateTime(&rtc);

			MENU_SetSecondUnits(&menu, DS1302_getSecondsUnits(&rtc));
			MENU_SetSecondDec(&menu, DS1302_getSecondsDec(&rtc));
			MENU_SetMinutesUnits(&menu, DS1302_getMinutesUnits(&rtc));
			MENU_SetMinutesDec(&menu, DS1302_getMinutesDec(&rtc));
			MENU_SetHourUnits(&menu, DS1302_getHourUnits(&rtc));
			MENU_SetHourDec(&menu, DS1302_getHourDec(&rtc));
			MENU_SetAmPm(&menu, DS1302_getAmPmStatus(&rtc));
			MENU_SetWeekday(&menu, DS1302_geWeekDay(&rtc));
			MENU_SetMonth(&menu, DS1302_getMonth(&rtc));
			MENU_SetMonthDay(&menu,DS1302_getMonthDay(&rtc));
			MENU_SetYear(&menu, DS1302_getYear(&rtc));
			flag_timer1 = 0;
		}

		if(MENU_GetChangesDataTime(&menu)){
			DS1302_setTime(&rtc, menu.data.dateTimeCfg.hourFormat, menu.data.dateTimeCfg.hour, menu.data.dateTimeCfg.minutes, menu.data.dateTimeCfg.seconds,
					menu.data.dateTimeCfg.amPm, menu.data.dateTimeCfg.dayOfWeek, menu.data.dateTimeCfg.dayOfMonth, menu.data.dateTimeCfg.month, menu.data.dateTimeCfg.year);
		}

		if(MENU_GetChangesPid(&menu)){
			PID_SetSetPointVal(&Pid, menu.data.SetPointEntire, 0U);
			PID_SetParameters(&Pid, menu.data.kpEntire, menu.data.kpDecimal,
					menu.data.kiEntire, menu.data.kiDecimal,
					menu.data.kdEntire, menu.data.kdDecimal);
		}

		if(MENU_checkAlarm(&menu)){

		}

    /* USER CODE END WHILE */

	}
}

void SystemClock_Config(void)
{
  RCC_OscInitTypeDef RCC_OscInitStruct = {0};
  RCC_ClkInitTypeDef RCC_ClkInitStruct = {0};
  RCC_PeriphCLKInitTypeDef PeriphClkInit = {0};

  /** Initializes the CPU, AHB and APB busses clocks
  */
  RCC_OscInitStruct.OscillatorType = RCC_OSCILLATORTYPE_HSE;
  RCC_OscInitStruct.HSEState = RCC_HSE_ON;
  RCC_OscInitStruct.HSEPredivValue = RCC_HSE_PREDIV_DIV1;
  RCC_OscInitStruct.HSIState = RCC_HSI_ON;
  RCC_OscInitStruct.PLL.PLLState = RCC_PLL_ON;
  RCC_OscInitStruct.PLL.PLLSource = RCC_PLLSOURCE_HSE;
  RCC_OscInitStruct.PLL.PLLMUL = RCC_PLL_MUL9;
  if (HAL_RCC_OscConfig(&RCC_OscInitStruct) != HAL_OK)
  {
    Error_Handler();
  }
  /** Initializes the CPU, AHB and APB busses clocks
  */
  RCC_ClkInitStruct.ClockType = RCC_CLOCKTYPE_HCLK|RCC_CLOCKTYPE_SYSCLK
                              |RCC_CLOCKTYPE_PCLK1|RCC_CLOCKTYPE_PCLK2;
  RCC_ClkInitStruct.SYSCLKSource = RCC_SYSCLKSOURCE_PLLCLK;
  RCC_ClkInitStruct.AHBCLKDivider = RCC_SYSCLK_DIV1;
  RCC_ClkInitStruct.APB1CLKDivider = RCC_HCLK_DIV2;
  RCC_ClkInitStruct.APB2CLKDivider = RCC_HCLK_DIV1;

  if (HAL_RCC_ClockConfig(&RCC_ClkInitStruct, FLASH_LATENCY_2) != HAL_OK)
  {
    Error_Handler();
  }
  PeriphClkInit.PeriphClockSelection = RCC_PERIPHCLK_ADC;
  PeriphClkInit.AdcClockSelection = RCC_ADCPCLK2_DIV8;
  if (HAL_RCCEx_PeriphCLKConfig(&PeriphClkInit) != HAL_OK)
  {
    Error_Handler();
  }
}

static void MX_ADC1_Init(void)
{

  ADC_ChannelConfTypeDef sConfig = {0};

  /** Common config
  */
  hadc1.Instance = ADC1;
  hadc1.Init.ScanConvMode = ADC_SCAN_DISABLE;
  hadc1.Init.ContinuousConvMode = DISABLE;
  hadc1.Init.DiscontinuousConvMode = DISABLE;
  hadc1.Init.ExternalTrigConv = ADC_EXTERNALTRIGCONV_T3_TRGO;
  hadc1.Init.DataAlign = ADC_DATAALIGN_RIGHT;
  hadc1.Init.NbrOfConversion = 1;
  if (HAL_ADC_Init(&hadc1) != HAL_OK)
  {
    Error_Handler();
  }
  /** Configure Regular Channel
  */
  sConfig.Channel = ADC_CHANNEL_8;
  sConfig.Rank = ADC_REGULAR_RANK_1;
  sConfig.SamplingTime = ADC_SAMPLETIME_71CYCLES_5;
  if (HAL_ADC_ConfigChannel(&hadc1, &sConfig) != HAL_OK)
  {
    Error_Handler();
  }
  /* USER CODE BEGIN ADC1_Init 2 */
	HAL_ADC_Start(&hadc1);
  /* USER CODE END ADC1_Init 2 */

}

static void MX_I2C2_Init(void)
{

  hi2c2.Instance = I2C2;
  hi2c2.Init.ClockSpeed = 100000;
  hi2c2.Init.DutyCycle = I2C_DUTYCYCLE_2;
  hi2c2.Init.OwnAddress1 = 0;
  hi2c2.Init.AddressingMode = I2C_ADDRESSINGMODE_7BIT;
  hi2c2.Init.DualAddressMode = I2C_DUALADDRESS_DISABLE;
  hi2c2.Init.OwnAddress2 = 0;
  hi2c2.Init.GeneralCallMode = I2C_GENERALCALL_DISABLE;
  hi2c2.Init.NoStretchMode = I2C_NOSTRETCH_DISABLE;
  if (HAL_I2C_Init(&hi2c2) != HAL_OK)
  {
    Error_Handler();
  }

}

static void MX_SPI1_Init(void)
{

  /* SPI1 parameter configuration*/
  hspi1.Instance = SPI1;
  hspi1.Init.Mode = SPI_MODE_MASTER;
  hspi1.Init.Direction = SPI_DIRECTION_1LINE;
  hspi1.Init.DataSize = SPI_DATASIZE_8BIT;
  hspi1.Init.CLKPolarity = SPI_POLARITY_LOW;
  hspi1.Init.CLKPhase = SPI_PHASE_1EDGE;
  hspi1.Init.NSS = SPI_NSS_SOFT;
  hspi1.Init.BaudRatePrescaler = SPI_BAUDRATEPRESCALER_64;
  hspi1.Init.FirstBit = SPI_FIRSTBIT_LSB;
  hspi1.Init.TIMode = SPI_TIMODE_DISABLE;
  hspi1.Init.CRCCalculation = SPI_CRCCALCULATION_DISABLE;
  hspi1.Init.CRCPolynomial = 10;
  if (HAL_SPI_Init(&hspi1) != HAL_OK)
  {
    Error_Handler();
  }

}

static void MX_TIM1_Init(void)
{

  TIM_ClockConfigTypeDef sClockSourceConfig = {0};
  TIM_MasterConfigTypeDef sMasterConfig = {0};

  htim1.Instance = TIM1;
  htim1.Init.Prescaler = 7199;
  htim1.Init.CounterMode = TIM_COUNTERMODE_UP;
  htim1.Init.Period = 4999;
  htim1.Init.ClockDivision = TIM_CLOCKDIVISION_DIV1;
  htim1.Init.RepetitionCounter = 0;
  htim1.Init.AutoReloadPreload = TIM_AUTORELOAD_PRELOAD_DISABLE;
  if (HAL_TIM_Base_Init(&htim1) != HAL_OK)
  {
    Error_Handler();
  }
  sClockSourceConfig.ClockSource = TIM_CLOCKSOURCE_INTERNAL;
  if (HAL_TIM_ConfigClockSource(&htim1, &sClockSourceConfig) != HAL_OK)
  {
    Error_Handler();
  }
  sMasterConfig.MasterOutputTrigger = TIM_TRGO_RESET;
  sMasterConfig.MasterSlaveMode = TIM_MASTERSLAVEMODE_DISABLE;
  if (HAL_TIMEx_MasterConfigSynchronization(&htim1, &sMasterConfig) != HAL_OK)
  {
    Error_Handler();
  }

}

static void MX_TIM2_Init(void)
{

  TIM_Encoder_InitTypeDef sConfig = {0};
  TIM_MasterConfigTypeDef sMasterConfig = {0};

  htim2.Instance = TIM2;
  htim2.Init.Prescaler = 0;
  htim2.Init.CounterMode = TIM_COUNTERMODE_CENTERALIGNED1;
  htim2.Init.Period = 65535;
  htim2.Init.ClockDivision = TIM_CLOCKDIVISION_DIV1;
  htim2.Init.AutoReloadPreload = TIM_AUTORELOAD_PRELOAD_DISABLE;
  sConfig.EncoderMode = TIM_ENCODERMODE_TI1;
  sConfig.IC1Polarity = TIM_ICPOLARITY_RISING;
  sConfig.IC1Selection = TIM_ICSELECTION_DIRECTTI;
  sConfig.IC1Prescaler = TIM_ICPSC_DIV1;
  sConfig.IC1Filter = 10;
  sConfig.IC2Polarity = TIM_ICPOLARITY_RISING;
  sConfig.IC2Selection = TIM_ICSELECTION_DIRECTTI;
  sConfig.IC2Prescaler = TIM_ICPSC_DIV1;
  sConfig.IC2Filter = 10;
  if (HAL_TIM_Encoder_Init(&htim2, &sConfig) != HAL_OK)
  {
    Error_Handler();
  }
  sMasterConfig.MasterOutputTrigger = TIM_TRGO_RESET;
  sMasterConfig.MasterSlaveMode = TIM_MASTERSLAVEMODE_DISABLE;
  if (HAL_TIMEx_MasterConfigSynchronization(&htim2, &sMasterConfig) != HAL_OK)
  {
    Error_Handler();
  }
  /* USER CODE BEGIN TIM2_Init 2 */
  HAL_TIM_Encoder_Start_IT(&htim2, TIM_CHANNEL_1);
  htim2.Instance->CNT = 5000;
  /* USER CODE END TIM2_Init 2 */

}

static void MX_TIM3_Init(void)
{

  TIM_ClockConfigTypeDef sClockSourceConfig = {0};
  TIM_MasterConfigTypeDef sMasterConfig = {0};

  htim3.Instance = TIM3;
  htim3.Init.Prescaler = 7199;
  htim3.Init.CounterMode = TIM_COUNTERMODE_UP;
  htim3.Init.Period = 19;
  htim3.Init.ClockDivision = TIM_CLOCKDIVISION_DIV1;
  htim3.Init.AutoReloadPreload = TIM_AUTORELOAD_PRELOAD_ENABLE;
  if (HAL_TIM_Base_Init(&htim3) != HAL_OK)
  {
    Error_Handler();
  }
  sClockSourceConfig.ClockSource = TIM_CLOCKSOURCE_INTERNAL;
  if (HAL_TIM_ConfigClockSource(&htim3, &sClockSourceConfig) != HAL_OK)
  {
    Error_Handler();
  }
  sMasterConfig.MasterOutputTrigger = TIM_TRGO_UPDATE;
  sMasterConfig.MasterSlaveMode = TIM_MASTERSLAVEMODE_DISABLE;
  if (HAL_TIMEx_MasterConfigSynchronization(&htim3, &sMasterConfig) != HAL_OK)
  {
    Error_Handler();
  }

}

static void MX_TIM4_Init(void)
{

  TIM_ClockConfigTypeDef sClockSourceConfig = {0};
  TIM_MasterConfigTypeDef sMasterConfig = {0};
  TIM_OC_InitTypeDef sConfigOC = {0};

  htim4.Instance = TIM4;
  htim4.Init.Prescaler = 3599;
  htim4.Init.CounterMode = TIM_COUNTERMODE_UP;
  htim4.Init.Period = 999;
  htim4.Init.ClockDivision = TIM_CLOCKDIVISION_DIV1;
  htim4.Init.AutoReloadPreload = TIM_AUTORELOAD_PRELOAD_DISABLE;
  if (HAL_TIM_Base_Init(&htim4) != HAL_OK)
  {
    Error_Handler();
  }
  sClockSourceConfig.ClockSource = TIM_CLOCKSOURCE_INTERNAL;
  if (HAL_TIM_ConfigClockSource(&htim4, &sClockSourceConfig) != HAL_OK)
  {
    Error_Handler();
  }
  if (HAL_TIM_PWM_Init(&htim4) != HAL_OK)
  {
    Error_Handler();
  }
  sMasterConfig.MasterOutputTrigger = TIM_TRGO_RESET;
  sMasterConfig.MasterSlaveMode = TIM_MASTERSLAVEMODE_DISABLE;
  if (HAL_TIMEx_MasterConfigSynchronization(&htim4, &sMasterConfig) != HAL_OK)
  {
    Error_Handler();
  }
  sConfigOC.OCMode = TIM_OCMODE_PWM1;
  sConfigOC.Pulse = 0;
  sConfigOC.OCPolarity = TIM_OCPOLARITY_HIGH;
  sConfigOC.OCFastMode = TIM_OCFAST_DISABLE;
  if (HAL_TIM_PWM_ConfigChannel(&htim4, &sConfigOC, TIM_CHANNEL_1) != HAL_OK)
  {
    Error_Handler();
  }
  if (HAL_TIM_PWM_ConfigChannel(&htim4, &sConfigOC, TIM_CHANNEL_2) != HAL_OK)
  {
    Error_Handler();
  }
  if (HAL_TIM_PWM_ConfigChannel(&htim4, &sConfigOC, TIM_CHANNEL_3) != HAL_OK)
  {
    Error_Handler();
  }
  if (HAL_TIM_PWM_ConfigChannel(&htim4, &sConfigOC, TIM_CHANNEL_4) != HAL_OK)
  {
    Error_Handler();
  }
  HAL_TIM_MspPostInit(&htim4);

}

static void MX_USART1_UART_Init(void)
{

  huart1.Instance = USART1;
  huart1.Init.BaudRate = 115200;
  huart1.Init.WordLength = UART_WORDLENGTH_8B;
  huart1.Init.StopBits = UART_STOPBITS_1;
  huart1.Init.Parity = UART_PARITY_NONE;
  huart1.Init.Mode = UART_MODE_TX_RX;
  huart1.Init.HwFlowCtl = UART_HWCONTROL_NONE;
  huart1.Init.OverSampling = UART_OVERSAMPLING_16;
  if (HAL_UART_Init(&huart1) != HAL_OK)
  {
    Error_Handler();
  }

}

static void MX_DMA_Init(void)
{

  /* DMA controller clock enable */
  __HAL_RCC_DMA1_CLK_ENABLE();

  /* DMA interrupt init */
  /* DMA1_Channel1_IRQn interrupt configuration */
  HAL_NVIC_SetPriority(DMA1_Channel1_IRQn, 0, 0);
  HAL_NVIC_EnableIRQ(DMA1_Channel1_IRQn);
  /* DMA1_Channel4_IRQn interrupt configuration */
  HAL_NVIC_SetPriority(DMA1_Channel4_IRQn, 5, 0);
  HAL_NVIC_EnableIRQ(DMA1_Channel4_IRQn);
  /* DMA1_Channel5_IRQn interrupt configuration */
  HAL_NVIC_SetPriority(DMA1_Channel5_IRQn, 4, 0);
  HAL_NVIC_EnableIRQ(DMA1_Channel5_IRQn);

}

static void MX_GPIO_Init(void)
{
  GPIO_InitTypeDef GPIO_InitStruct = {0};

  /* GPIO Ports Clock Enable */
  __HAL_RCC_GPIOC_CLK_ENABLE();
  __HAL_RCC_GPIOD_CLK_ENABLE();
  __HAL_RCC_GPIOA_CLK_ENABLE();
  __HAL_RCC_GPIOB_CLK_ENABLE();

  /*Configure GPIO pin Output Level */
  HAL_GPIO_WritePin(GPIOC, GPIO_PIN_13, GPIO_PIN_RESET);

  /*Configure GPIO pin Output Level */
  HAL_GPIO_WritePin(GPIOA, GPIO_PIN_4, GPIO_PIN_RESET);

  /*Configure GPIO pin : PC13 */
  GPIO_InitStruct.Pin = GPIO_PIN_13;
  GPIO_InitStruct.Mode = GPIO_MODE_OUTPUT_PP;
  GPIO_InitStruct.Pull = GPIO_NOPULL;
  GPIO_InitStruct.Speed = GPIO_SPEED_FREQ_LOW;
  HAL_GPIO_Init(GPIOC, &GPIO_InitStruct);

  /*Configure GPIO pin : PA4 */
  GPIO_InitStruct.Pin = GPIO_PIN_4;
  GPIO_InitStruct.Mode = GPIO_MODE_OUTPUT_PP;
  GPIO_InitStruct.Pull = GPIO_NOPULL;
  GPIO_InitStruct.Speed = GPIO_SPEED_FREQ_LOW;
  HAL_GPIO_Init(GPIOA, &GPIO_InitStruct);

  /*Configure GPIO pin : PB4 */
  GPIO_InitStruct.Pin = GPIO_PIN_4;
  GPIO_InitStruct.Mode = GPIO_MODE_IT_RISING_FALLING;
  GPIO_InitStruct.Pull = GPIO_NOPULL;
  HAL_GPIO_Init(GPIOB, &GPIO_InitStruct);

  /* EXTI interrupt init*/
  HAL_NVIC_SetPriority(EXTI4_IRQn, 12, 0);
  HAL_NVIC_EnableIRQ(EXTI4_IRQn);

}

void Error_Handler(void)
{
}

/************************ (C) COPYRIGHT STMicroelectronics *****END OF FILE****/
